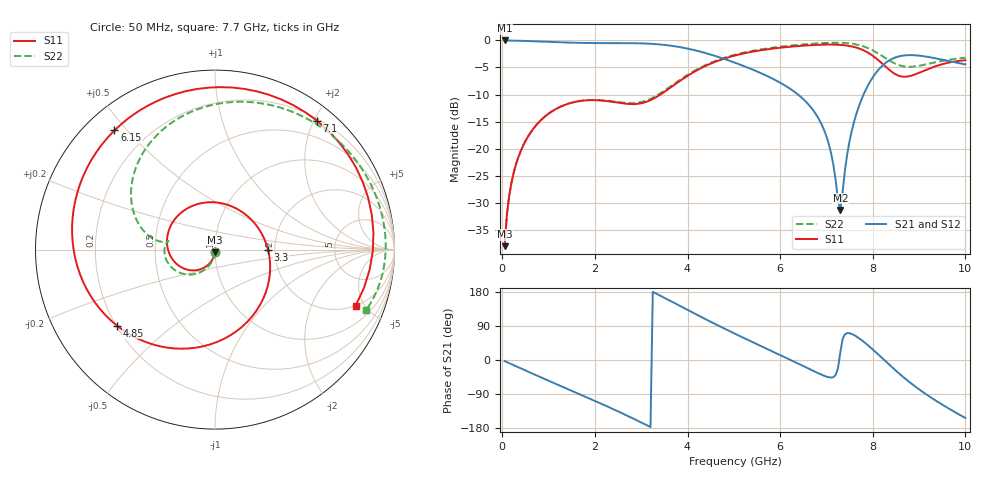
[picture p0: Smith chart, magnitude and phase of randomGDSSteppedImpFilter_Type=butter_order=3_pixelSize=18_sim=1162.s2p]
! freq	dB(S11)	phase(S11)	dB(S12)	phase(S12)
!  dB(S21)	phase(S21)	dB(S22)	phase(S22)
!S-par simulation data
#  GHz  S  DB  R 50
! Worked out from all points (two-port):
!   200 points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, 50 MHz to 10 GHz, reference 50 ohm
!   highest |S21| = -0.01 dB at 50 MHz (marker M1); lowest = -31.3 dB at 7.3 GHz (marker M2)
!   |S21| within 3 dB of the highest: start of sweep to 4.647 GHz; 8.542 GHz to 9.162 GHz (620.3 MHz wide, 7.01 % of centre)
!   lowest |S11| = -38.0 dB at 50 MHz (marker M3), VSWR 1.03, Z = 49.9 - j1.25 ohm
!   |S11| at or under -10 dB: start of sweep to 3.415 GHz
!   |S22| runs from -38.0 to -0.4 dB; largest |S21 - S12| = 0
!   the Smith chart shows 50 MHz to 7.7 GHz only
!   S11 on the Smith chart (normalised r, x): 50 MHz: 1.00, -0.03; 3.3 GHz: 1.84, +0.00; 4.85 GHz: 0.20, -0.33; 6.15 GHz: 0.09, +0.46; 7.1 GHz: 0.23, +2.04; 7.7 GHz: 2.01, -4.33
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0.05  -38.02 -92.3  -0.01 -2.8  -0.01 -2.8  -38.02 -91.8
0.2  -26.21 -102.3  -0.03 -11.1  -0.03 -11.1  -26.20 -100.1
0.5  -18.61 -121.0  -0.10 -27.6  -0.10 -27.6  -18.60 -115.3
1.75  -11.12 159.5  -0.46 -94.6  -0.46 -94.6  -11.09 -169.8
2.6  -11.63 86.4  -0.50 -141.3  -0.50 -141.3  -11.50 170.1
3.3  -10.60 0.1  -0.67 176.7  -0.67 176.7  -10.36 171.6
3.4  -10.08 -12.2  -0.74 170.4  -0.74 170.4  -9.84 171.3
4.15  -5.78 -88.5  -1.80 122.7  -1.80 122.7  -5.61 152.0
4.85  -3.21 -142.2  -3.59 79.6  -3.59 79.6  -3.06 119.8
5.05  -2.73 -156.0  -4.20 67.8  -4.20 67.8  -2.58 110.0
5.6  -1.80 167.4  -6.11 36.0  -6.11 36.0  -1.63 83.0
6.15  -1.22 130.1  -8.57 4.4  -8.57 4.4  -1.02 56.2
6.7  -0.86 88.2  -12.76 -27.9  -12.76 -27.9  -0.60 29.7
7.1  -0.76 51.7  -20.84 -46.3  -20.84 -46.3  -0.44 9.8
7.3  -0.83 30.3  -31.34 21.2  -31.34 21.2  -0.44 -0.5
7.7  -1.48 -21.7  -12.19 57.7  -12.19 57.7  -0.86 -21.9
8.05  -3.16 -81.0  -6.21 22.3  -6.21 22.3  -2.07 -39.3
8.35  -5.39 -144.3  -3.73 -11.7  -3.73 -11.7  -3.67 -48.0
8.7  -6.71 133.7  -2.76 -49.2  -2.76 -49.2  -4.84 -49.0
9  -5.99 74.0  -2.81 -77.4  -2.81 -77.4  -4.69 -49.5
9.5  -4.40 2.2  -3.56 -117.7  -3.56 -117.7  -3.78 -57.8
10  -3.66 -52.9  -4.43 -153.1  -4.43 -153.1  -3.20 -70.8
